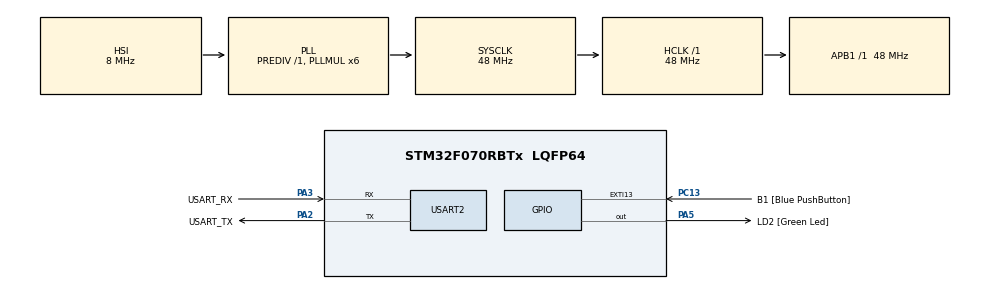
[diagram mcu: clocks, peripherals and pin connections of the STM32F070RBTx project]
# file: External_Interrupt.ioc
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Mcu.Family=STM32F0
Mcu.Name=STM32F070RBTx
Mcu.Package=LQFP64
PA13.GPIO_Label=TMS
PA13.Mode=Serial_Wire
PA13.Signal=SYS_SWDIO
PA14.GPIO_Label=TCK
PA14.Mode=Serial_Wire
PA14.Signal=SYS_SWCLK
PA2.GPIO_Label=USART_TX
PA2.Mode=Asynchronous
PA2.Signal=USART2_TX
PA3.GPIO_Label=USART_RX
PA3.Mode=Asynchronous
PA3.Signal=USART2_RX
PA5.GPIO_Label=LD2 [Green Led]
PA5.Signal=GPIO_Output
PC13.GPIO_Label=B1 [Blue PushButton]
PC13.GPIO_ModeDefaultEXTI=GPIO_MODE_IT_FALLING
PC13.Signal=GPXTI13
PC14-OSC32_IN.GPIO_Label=RCC_OSC32_IN
PC14-OSC32_IN.Mode=LSE-External-Oscillator
PC14-OSC32_IN.Signal=RCC_OSC32_IN
PC15-OSC32_OUT.GPIO_Label=RCC_OSC32_OUT
PC15-OSC32_OUT.Mode=LSE-External-Oscillator
PC15-OSC32_OUT.Signal=RCC_OSC32_OUT
PF0-OSC_IN.GPIO_Label=RCC_OSC_IN
PF0-OSC_IN.Mode=HSE-External-Clock-Source
PF0-OSC_IN.Signal=RCC_OSC_IN
PF1-OSC_OUT.GPIO_Label=RCC_OSC_OUT
PF1-OSC_OUT.Signal=RCC_OSC_OUT
ProjectManager.HeapSize=0x200
ProjectManager.StackSize=0x400
ProjectManager.TargetToolchain=STM32CubeIDE
RCC.AHBFreq_Value=48000000
RCC.APB1Freq_Value=48000000
RCC.APB1TimFreq_Value=48000000
RCC.HCLKFreq_Value=48000000
RCC.PLLMUL=RCC_PLL_MUL6
RCC.SYSCLKFreq_VALUE=48000000
RCC.SYSCLKSource=RCC_SYSCLKSOURCE_PLLCLK
USART2.VirtualMode-Asynchronous=VM_ASYNC
board=NUCLEO-F070RB

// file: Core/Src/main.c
/* USER CODE BEGIN Header */
/**
  ******************************************************************************
  * @file           : main.c
  * @brief          : Main program body
  ******************************************************************************
  * @attention
  *
  * <h2><center>&copy; Copyright (c) 2021 STMicroelectronics.
  * All rights reserved.</center></h2>
  *
  * This software component is licensed by ST under BSD 3-Clause license,
  * the "License"; You may not use this file except in compliance with the
  * License. You may obtain a copy of the License at:
  *                        opensource.org/licenses/BSD-3-Clause
  *
  ******************************************************************************
  */
/* USER CODE END Header */
#include "main.h"

UART_HandleTypeDef huart2;

void SystemClock_Config(void);
static void MX_GPIO_Init(void);
static void MX_USART2_UART_Init(void);
/* USER CODE BEGIN PFP */
void GPIO_Config(){
	RCC->AHBENR |= 0xA0000;

	GPIOA->MODER |= 0x400;
	GPIOA->OTYPER |= 0;
	GPIOA->OSPEEDR |= 0xC00;
	GPIOA->PUPDR |= 0;

}

void EXTI_Config(){

	__HAL_RCC_SYSCFG_CLK_ENABLE();

	SYSCFG->EXTICR[3] |= 0x20;

	NVIC_EnableIRQ(EXTI4_15_IRQn);
	NVIC_SetPriority(EXTI4_15_IRQn,1);

	EXTI->IMR |= 0x2000;
	EXTI->FTSR |= 0x2000;
}

void EXTI4_15_IRQHandler(){
	if(EXTI->PR & 0x2000){
		HAL_Delay(1000);
		GPIOA->ODR |= 0x20;
		HAL_Delay(1000);
		GPIOA->ODR = 0;
		HAL_Delay(1000);
		EXTI->PR |= 0x2000;
	}
}
/* USER CODE END PFP */

int main(void)
{

  /* MCU Configuration--------------------------------------------------------*/

  /* Reset of all peripherals, Initializes the Flash interface and the Systick. */
  HAL_Init();

  /* Configure the system clock */
  SystemClock_Config();

  /* Initialize all configured peripherals */
  MX_GPIO_Init();
  MX_USART2_UART_Init();
  /* USER CODE BEGIN 2 */
  GPIO_Config();
  EXTI_Config();
  /* USER CODE END 2 */

  /* Infinite loop */
  while (1)
  {

  }
}

void SystemClock_Config(void)
{
  RCC_OscInitTypeDef RCC_OscInitStruct = {0};
  RCC_ClkInitTypeDef RCC_ClkInitStruct = {0};

  /** Initializes the RCC Oscillators according to the specified parameters
  * in the RCC_OscInitTypeDef structure.
  */
  RCC_OscInitStruct.OscillatorType = RCC_OSCILLATORTYPE_HSI;
  RCC_OscInitStruct.HSIState = RCC_HSI_ON;
  RCC_OscInitStruct.HSICalibrationValue = RCC_HSICALIBRATION_DEFAULT;
  RCC_OscInitStruct.PLL.PLLState = RCC_PLL_ON;
  RCC_OscInitStruct.PLL.PLLSource = RCC_PLLSOURCE_HSI;
  RCC_OscInitStruct.PLL.PLLMUL = RCC_PLL_MUL6;
  RCC_OscInitStruct.PLL.PREDIV = RCC_PREDIV_DIV1;
  if (HAL_RCC_OscConfig(&RCC_OscInitStruct) != HAL_OK)
  {
    Error_Handler();
  }
  /** Initializes the CPU, AHB and APB buses clocks
  */
  RCC_ClkInitStruct.ClockType = RCC_CLOCKTYPE_HCLK|RCC_CLOCKTYPE_SYSCLK
                              |RCC_CLOCKTYPE_PCLK1;
  RCC_ClkInitStruct.SYSCLKSource = RCC_SYSCLKSOURCE_PLLCLK;
  RCC_ClkInitStruct.AHBCLKDivider = RCC_SYSCLK_DIV1;
  RCC_ClkInitStruct.APB1CLKDivider = RCC_HCLK_DIV1;

  if (HAL_RCC_ClockConfig(&RCC_ClkInitStruct, FLASH_LATENCY_1) != HAL_OK)
  {
    Error_Handler();
  }
}

static void MX_USART2_UART_Init(void)
{

  huart2.Instance = USART2;
  huart2.Init.BaudRate = 38400;
  huart2.Init.WordLength = UART_WORDLENGTH_8B;
  huart2.Init.StopBits = UART_STOPBITS_1;
  huart2.Init.Parity = UART_PARITY_NONE;
  huart2.Init.Mode = UART_MODE_TX_RX;
  huart2.Init.HwFlowCtl = UART_HWCONTROL_NONE;
  huart2.Init.OverSampling = UART_OVERSAMPLING_16;
  huart2.Init.OneBitSampling = UART_ONE_BIT_SAMPLE_DISABLE;
  huart2.AdvancedInit.AdvFeatureInit = UART_ADVFEATURE_NO_INIT;
  if (HAL_UART_Init(&huart2) != HAL_OK)
  {
    Error_Handler();
  }

}

static void MX_GPIO_Init(void)
{
  GPIO_InitTypeDef GPIO_InitStruct = {0};

  /* GPIO Ports Clock Enable */
  __HAL_RCC_GPIOC_CLK_ENABLE();
  __HAL_RCC_GPIOF_CLK_ENABLE();
  __HAL_RCC_GPIOA_CLK_ENABLE();

  /*Configure GPIO pin Output Level */
  HAL_GPIO_WritePin(LD2_GPIO_Port, LD2_Pin, GPIO_PIN_RESET);

  /*Configure GPIO pin : B1_Pin */
  GPIO_InitStruct.Pin = B1_Pin;
  GPIO_InitStruct.Mode = GPIO_MODE_IT_FALLING;
  GPIO_InitStruct.Pull = GPIO_NOPULL;
  HAL_GPIO_Init(B1_GPIO_Port, &GPIO_InitStruct);

  /*Configure GPIO pin : LD2_Pin */
  GPIO_InitStruct.Pin = LD2_Pin;
  GPIO_InitStruct.Mode = GPIO_MODE_OUTPUT_PP;
  GPIO_InitStruct.Pull = GPIO_NOPULL;
  GPIO_InitStruct.Speed = GPIO_SPEED_FREQ_LOW;
  HAL_GPIO_Init(LD2_GPIO_Port, &GPIO_InitStruct);

}

void Error_Handler(void)
{
  __disable_irq();
  while (1)
  {
  }
}

/************************ (C) COPYRIGHT STMicroelectronics *****END OF FILE****/
